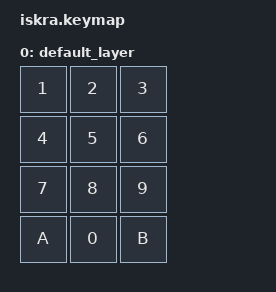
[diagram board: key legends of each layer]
#include <behaviors.dtsi>
#include <dt-bindings/zmk/keys.h>
#include <dt-bindings/zmk/bt.h>

/ {
    keymap {
        compatible = "zmk,keymap";

        default_layer {
            bindings = <
                &kp 1 &kp 2 &kp 3  /* row 0, cols 0-2 */
                &kp 4 &kp 5 &kp 6  /* row 1, cols 0-2 */
                &kp 7 &kp 8 &kp 9  /* row 2, cols 0-2 */
                &kp A &kp 0 &kp B  /* row 3, cols 0-2 */
            >;
        };
    };
};
